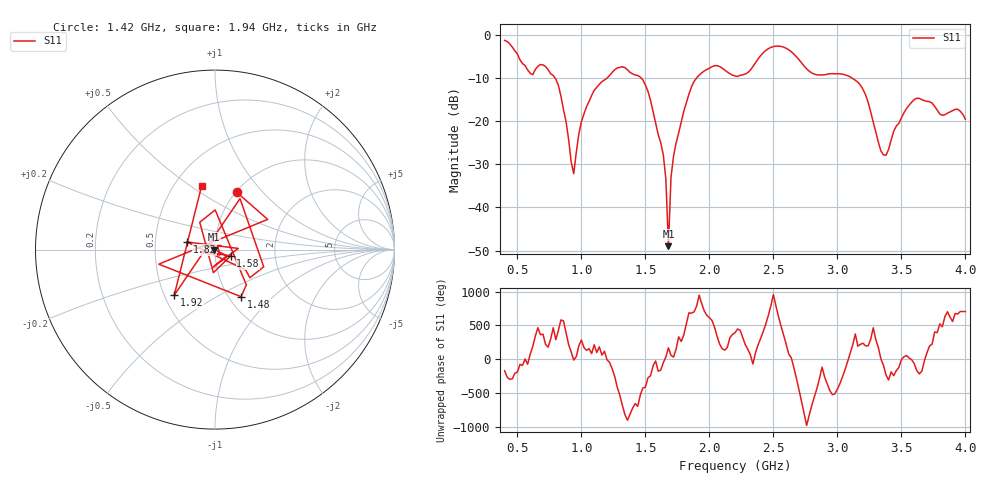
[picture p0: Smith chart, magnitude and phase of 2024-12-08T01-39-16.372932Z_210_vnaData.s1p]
!Created with skrf (http://scikit-rf.org).
# Hz S RI R 50.0
!freq ReS11 ImS11
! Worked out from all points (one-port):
!   181 points, 400 MHz to 4 GHz, reference 50 ohm
!   lowest |S11| = -49.0 dB at 1.68 GHz (marker M1), VSWR 1.01, Z = 49.7 + j0.0546 ohm
!   |S11| at or under -10 dB: 793.9 MHz to 1.201 GHz (407.4 MHz wide, 40.8 % of centre); 1.466 GHz to 1.9 GHz (434 MHz wide, 25.8 % of centre); 3.113 GHz to end of sweep
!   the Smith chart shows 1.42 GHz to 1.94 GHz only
!   S11 on the Smith chart (normalised r, x): 1.42 GHz: 1.01, +0.73; 1.48 GHz: 1.14, -0.66; 1.58 GHz: 1.19, -0.09; 1.82 GHz: 0.73, +0.06; 1.92 GHz: 0.56, -0.32; 1.94 GHz: 0.68, +0.55
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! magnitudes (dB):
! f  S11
! 400 MHz  -1.3
! 600 MHz  -8.9
! 780 MHz  -9.4
! 860 MHz  -17.3
! 940 MHz  -32.2
! 980 MHz  -23.0
! 1.04 GHz  -16.7
! 1.3 GHz  -7.5
! 1.42 GHz  -9.3
! 1.48 GHz  -10.4
! 1.58 GHz  -20.5
! 1.64 GHz  -27.9
! 1.66 GHz  -33.5
! 1.68 GHz  -49.0
! 1.7 GHz  -33.0
! 1.76 GHz  -22.7
! 1.82 GHz  -15.8
! 1.92 GHz  -9.3
! 1.94 GHz  -8.8
! 2.2 GHz  -9.5
! 2.48 GHz  -2.9
! 2.66 GHz  -4.5
! 2.82 GHz  -9.1
! 3.1 GHz  -9.8
! 3.22 GHz  -13.9
! 3.36 GHz  -27.8
! 3.56 GHz  -16.3
! 4 GHz  -19.6
